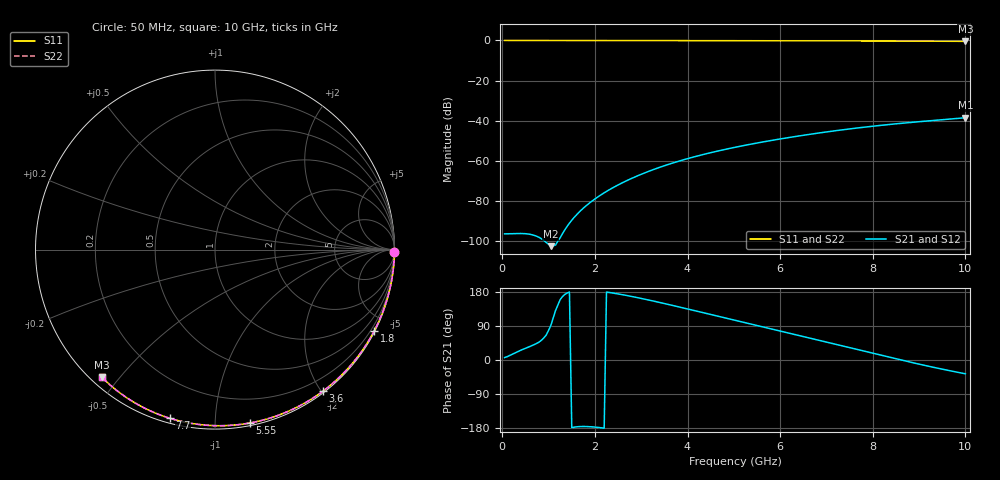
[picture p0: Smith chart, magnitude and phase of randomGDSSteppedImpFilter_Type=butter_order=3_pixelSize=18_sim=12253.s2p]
! freq	dB(S11)	phase(S11)	dB(S12)	phase(S12)
!  dB(S21)	phase(S21)	dB(S22)	phase(S22)
!S-par simulation data
#  GHz  S  DB  R 50
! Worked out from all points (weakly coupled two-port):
!   200 points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, 50 MHz to 10 GHz, reference 50 ohm
!   highest |S21| = -38.45 dB at 10 GHz (marker M1); lowest = -102.3 dB at 1.05 GHz (marker M2)
!   lowest |S11| = -0.4 dB at 10 GHz (marker M3), VSWR 39.39, Z = 1.53 - j22.5 ohm
!   |S11| at or under -10 dB: nowhere
!   |S22| runs from -0.4 to 0.0 dB; largest |S21 - S12| = 0
!   S11 on the Smith chart (normalised r, x): 50 MHz: open; 1.8 GHz: 0.04, -4.18; 3.6 GHz: 0.02, -2.02; 5.55 GHz: 0.02, -1.22; 7.7 GHz: 0.02, -0.77; 10 GHz: 0.03, -0.45
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0.05  -0.00 -0.8  -96.23 6.5  -96.23 6.5  -0.00 -0.8
0.55  -0.01 -8.3  -96.27 33.4  -96.27 33.4  -0.01 -8.3
1.05  -0.02 -15.8  -102.35 91.7  -102.35 91.7  -0.02 -15.8
1.75  -0.03 -26.2  -83.44 -175.5  -83.44 -175.5  -0.03 -26.2
1.8  -0.03 -26.9  -82.43 -175.5  -82.43 -175.5  -0.03 -26.9
1.9  -0.04 -28.4  -80.57 -176.1  -80.57 -176.1  -0.04 -28.4
1.95  -0.04 -29.1  -79.69 -176.5  -79.69 -176.5  -0.04 -29.1
2.25  -0.04 -33.5  -75.09 179.3  -75.09 179.3  -0.04 -33.5
2.55  -0.05 -37.8  -71.28 173.3  -71.28 173.3  -0.05 -37.8
2.95  -0.06 -43.5  -67.05 163.8  -67.05 163.8  -0.06 -43.5
3.4  -0.07 -49.9  -63.10 151.8  -63.10 151.8  -0.07 -49.9
3.6  -0.07 -52.7  -61.56 146.2  -61.56 146.2  -0.07 -52.7
3.9  -0.08 -56.8  -59.45 137.6  -59.45 137.6  -0.08 -56.8
4.3  -0.09 -62.2  -56.96 126.0  -56.96 126.0  -0.09 -62.2
5.05  -0.11 -72.2  -53.04 104.1  -53.04 104.1  -0.11 -72.2
5.55  -0.13 -78.7  -50.81 89.6  -50.81 89.6  -0.13 -78.7
6.1  -0.15 -85.6  -48.63 73.6  -48.63 73.6  -0.15 -85.6
6.7  -0.18 -93.0  -46.49 56.1  -46.49 56.1  -0.18 -93.0
7.7  -0.24 -105.1  -43.45 26.6  -43.45 26.6  -0.24 -105.1
8.35  -0.29 -112.7  -41.82 7.5  -41.82 7.5  -0.29 -112.7
9.15  -0.36 -121.8  -40.12 -15.0  -40.12 -15.0  -0.36 -121.8
10  -0.44 -131.5  -38.45 -36.4  -38.45 -36.4  -0.44 -131.5
